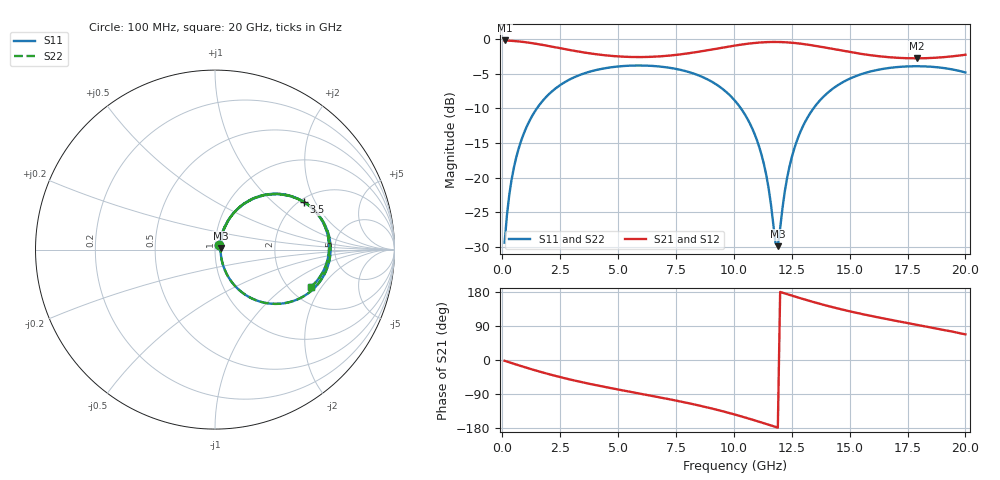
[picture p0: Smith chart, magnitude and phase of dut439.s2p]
! Touchstone file exported from HFSS 2026.1.0
!  File:  C:/ffzhzh/LocalFiles/Ansys_Project_Files/temp_train_TSV_RDL_439_1783098339_37876.aedt
!  Generated:  01:21:47 AM Jul  4, 2026
!  Design:  TSV_RDL
!  Project:  temp_train_TSV_RDL_439_1783098339_37876
! Variables:
!  h_bsmrdl = 5.2um
!  h_ox = 20um
!  h_rdl = 5um
!  h_sub = 58.25um
!  h_tmrdl = 3.48um
!  h_tsv = 58.25um
!  h_via = 3um
!  l_bsmrdl = 813.45um
!  l_sub = 5283.14um
!  l_tmrdl = 585.16um
!  m_sub = 200um
!  pitch = 58.3um
!  r_tsv = 12.86um
!  s_tmrdl = 10um
!  w_bsmrdl = 16.09um
!  w_sub = 500um
!  w_tmrdl = 17.96um
!  x_tsv_center1 = 594.14um
!  x_tsv_center2 = 1423.68um
!  x_tsv_center3 = 2026.8um
!  x_tsv_center4 = 2856.34um
!  x_tsv_center5 = 3459.46um
!  x_tsv_center6 = 4289um
# GHz S MA R 50.000000
! Terminal data exported
! Port[1] = TM_RDL1_1_T1
! Port[2] = TM_RDL5_1_T1
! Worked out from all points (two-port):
!   200 points, 100 MHz to 20 GHz, reference 50 ohm
!   highest |S21| = -0.21 dB at 100 MHz (marker M1); lowest = -2.8 dB at 17.9 GHz (marker M2)
!   |S21| within 3 dB of the highest: start of sweep to end of sweep
!   lowest |S11| = -29.9 dB at 11.9 GHz (marker M3), VSWR 1.07, Z = 53.2 + j0.895 ohm
!   |S11| at or under -10 dB: start of sweep to 1.497 GHz; 10.3 GHz to 13.44 GHz (3.139 GHz wide, 26.4 % of centre)
!   |S22| runs from -29.9 to -3.8 dB; largest |S21 - S12| = 1.7e-14
!   S11 on the Smith chart (normalised r, x): 100 MHz: 1.05, +0.05; 3.5 GHz: 2.11, +1.63; 20 GHz: 2.58, -1.60
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0.1  0.03394 42.9  0.9757 -2.1  0.9757 -2.1  0.03394 42.9
! Gamma 0 0 0 0
! Port Impedance 50 0 50 0
0.3  0.07484 64.1  0.9721 -6.1  0.9721 -6.1  0.07484 64.1
0.5  0.118 67.1  0.9669 -10.0  0.9669 -10.0  0.118 67.1
1.1  0.2423 62.0  0.9429 -21.4  0.9429 -21.4  0.2423 62.0
2.1  0.4124 47.3  0.8835 -38.8  0.8835 -38.8  0.4124 47.3
3.5  0.562 28.1  0.8006 -59.4  0.8006 -59.4  0.562 28.1
5.1  0.6357 9.2  0.747 -79.0  0.747 -79.0  0.6356 9.2
6.8  0.6329 -9.6  0.7493 -98.6  0.7493 -98.6  0.6329 -9.6
8.7  0.527 -32.5  0.8201 -122.9  0.8201 -122.9  0.527 -32.5
10.1  0.3502 -52.1  0.8993 -144.9  0.8993 -144.9  0.3502 -52.2
10.7  0.2444 -60.3  0.9284 -155.6  0.9284 -155.6  0.2444 -60.3
11.2  0.1454 -64.4  0.9449 -164.9  0.9449 -164.9  0.1454 -64.4
11.5  0.08426 -60.8  0.9502 -170.7  0.9502 -170.7  0.08425 -60.8
11.8  0.03373 -21.4  0.9517 -176.5  0.9517 -176.5  0.03377 -21.3
11.9  0.03206 15.2  0.9512 -178.5  0.9512 -178.5  0.03211 15.2
12.2  0.07942 61.5  0.9473 175.8  0.9473 175.8  0.07947 61.5
12.5  0.1399 66.1  0.9397 170.0  0.9397 170.0  0.1399 66.1
13.4  0.3093 57.2  0.899 153.6  0.899 153.6  0.3093 57.2
14.8  0.4975 37.9  0.8167 131.4  0.8167 131.4  0.4975 37.9
16.7  0.6178 15.1  0.7388 106.8  0.7388 106.8  0.6178 15.1
17.9  0.6361 2.1  0.7252 92.9  0.7252 92.9  0.6361 2.1
20  0.5732 -21.3  0.7698 67.7  0.7698 67.7  0.5732 -21.3
